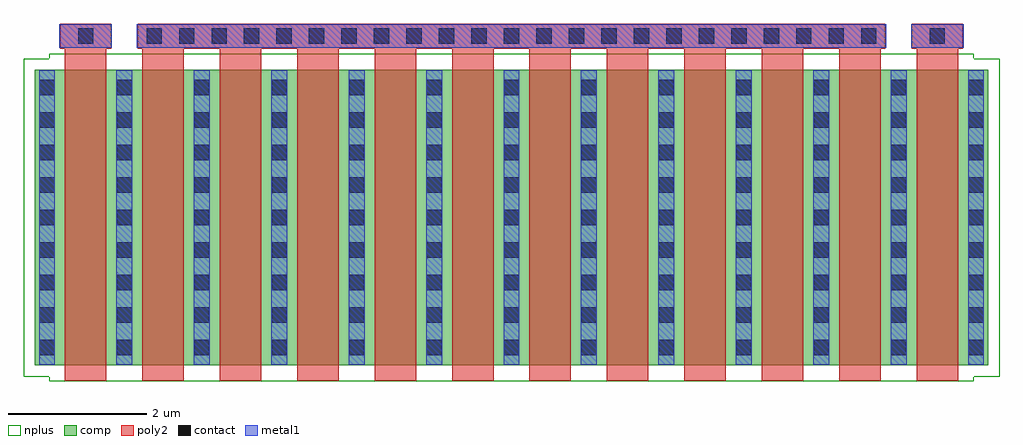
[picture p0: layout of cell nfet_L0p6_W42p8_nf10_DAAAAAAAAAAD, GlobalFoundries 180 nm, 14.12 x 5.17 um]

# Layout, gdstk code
import gdstk
lib = gdstk.Library(unit=1e-6, precision=1e-09)
def R(c, l, rs):  # rectangles x0, y0, x1, y1
    for r in rs: c.add(gdstk.rectangle(r[:2], r[2:], *l))
def A(c, l, x, y, w, h, nx, ny, dx, dy):  # array of equal rectangles
    R(c, l, [(x+i*dx, y+j*dy, x+i*dx+w, y+j*dy+h) for i in range(nx) for j in range(ny)])
def P(c, l, *ps):  # polygons
    for p in ps: c.add(gdstk.Polygon(p, *l))
comp = (22, 0)
poly2 = (30, 0)
nplus = (32, 0)
contact = (33, 0)
metal1 = (34, 0)

nfet_l0p6_w42p8_nf10_daa = lib.new_cell('nfet_L0p6_W42p8_nf10_DAAAAAAAAAAD')
A(nfet_l0p6_w42p8_nf10_daa, comp, -6.835, -2.14, 1.35, 4.28, 12, 1, 1.12, 0)
R(nfet_l0p6_w42p8_nf10_daa, comp, [(-6.9,-2.14,-6.54,2.14), (-5.78,-2.14,-5.42,2.14), (-5.78,-2.14,-5.42,2.14), (-4.66,-2.14,-4.3,2.14), (-4.66,-2.14,-4.3,2.14), (-3.54,-2.14,-3.18,2.14), (-3.54,-2.14,-3.18,2.14), (-2.42,-2.14,-2.06,2.14), (-2.42,-2.14,-2.06,2.14), (-1.3,-2.14,-0.94,2.14), (-1.3,-2.14,-0.94,2.14), (-0.18,-2.14,0.18,2.14), (-0.18,-2.14,0.18,2.14), (0.94,-2.14,1.3,2.14), (0.94,-2.14,1.3,2.14), (2.06,-2.14,2.42,2.14), (2.06,-2.14,2.42,2.14), (3.18,-2.14,3.54,2.14), (3.18,-2.14,3.54,2.14), (4.3,-2.14,4.66,2.14), (4.3,-2.14,4.66,2.14), (5.42,-2.14,5.78,2.14), (5.42,-2.14,5.78,2.14), (6.54,-2.14,6.9,2.14)])
A(nfet_l0p6_w42p8_nf10_daa, poly2, -6.46, -2.36, 0.6, 4.72, 12, 1, 1.12, 0)
A(nfet_l0p6_w42p8_nf10_daa, poly2, -6.46, 2.205, 0.6, 0.29, 12, 1, 1.12, 0)
R(nfet_l0p6_w42p8_nf10_daa, poly2, [(-6.53,2.445,-5.79,2.805), (-5.41,2.445,5.41,2.805), (5.79,2.445,6.53,2.805)])
P(nfet_l0p6_w42p8_nf10_daa, nplus, [(-6.69,-2.37),(-6.69,-2.3),(-7.06,-2.3),(-7.06,2.3),(-6.69,2.3),(-6.69,2.37),(6.69,2.37),(6.69,2.3),(7.06,2.3),(7.06,-2.3),(6.69,-2.3),(6.69,-2.37)])
A(nfet_l0p6_w42p8_nf10_daa, contact, -6.83, -1.99, 0.22, 0.22, 1, 9, 0, 0.47)
A(nfet_l0p6_w42p8_nf10_daa, contact, 6.61, -1.99, 0.22, 0.22, 1, 9, 0, 0.47)
A(nfet_l0p6_w42p8_nf10_daa, contact, -5.28, 2.515, 0.22, 0.22, 23, 1, 0.47, 0)
R(nfet_l0p6_w42p8_nf10_daa, contact, [(-5.71,-1.99,-5.49,-1.77), (-5.71,-1.99,-5.49,-1.77), (-4.59,-1.99,-4.37,-1.77), (-4.59,-1.99,-4.37,-1.77), (-3.47,-1.99,-3.25,-1.77), (-3.47,-1.99,-3.25,-1.77), (-2.35,-1.99,-2.13,-1.77), (-2.35,-1.99,-2.13,-1.77), (-1.23,-1.99,-1.01,-1.77), (-1.23,-1.99,-1.01,-1.77), (-0.11,-1.99,0.11,-1.77), (-0.11,-1.99,0.11,-1.77), (1.01,-1.99,1.23,-1.77), (1.01,-1.99,1.23,-1.77), (2.13,-1.99,2.35,-1.77), (2.13,-1.99,2.35,-1.77), (3.25,-1.99,3.47,-1.77), (3.25,-1.99,3.47,-1.77), (4.37,-1.99,4.59,-1.77), (4.37,-1.99,4.59,-1.77), (5.49,-1.99,5.71,-1.77), (5.49,-1.99,5.71,-1.77), (-5.71,-1.52,-5.49,-1.3), (-5.71,-1.52,-5.49,-1.3), (-4.59,-1.52,-4.37,-1.3), (-4.59,-1.52,-4.37,-1.3), (-3.47,-1.52,-3.25,-1.3), (-3.47,-1.52,-3.25,-1.3), (-2.35,-1.52,-2.13,-1.3), (-2.35,-1.52,-2.13,-1.3), (-1.23,-1.52,-1.01,-1.3), (-1.23,-1.52,-1.01,-1.3), (-0.11,-1.52,0.11,-1.3), (-0.11,-1.52,0.11,-1.3), (1.01,-1.52,1.23,-1.3), (1.01,-1.52,1.23,-1.3), (2.13,-1.52,2.35,-1.3), (2.13,-1.52,2.35,-1.3), (3.25,-1.52,3.47,-1.3), (3.25,-1.52,3.47,-1.3), (4.37,-1.52,4.59,-1.3), (4.37,-1.52,4.59,-1.3), (5.49,-1.52,5.71,-1.3), (5.49,-1.52,5.71,-1.3), (-5.71,-1.05,-5.49,-0.83), (-5.71,-1.05,-5.49,-0.83), (-4.59,-1.05,-4.37,-0.83), (-4.59,-1.05,-4.37,-0.83), (-3.47,-1.05,-3.25,-0.83), (-3.47,-1.05,-3.25,-0.83), (-2.35,-1.05,-2.13,-0.83), (-2.35,-1.05,-2.13,-0.83), (-1.23,-1.05,-1.01,-0.83), (-1.23,-1.05,-1.01,-0.83), (-0.11,-1.05,0.11,-0.83), (-0.11,-1.05,0.11,-0.83), (1.01,-1.05,1.23,-0.83), (1.01,-1.05,1.23,-0.83), (2.13,-1.05,2.35,-0.83), (2.13,-1.05,2.35,-0.83), (3.25,-1.05,3.47,-0.83), (3.25,-1.05,3.47,-0.83), (4.37,-1.05,4.59,-0.83), (4.37,-1.05,4.59,-0.83), (5.49,-1.05,5.71,-0.83), (5.49,-1.05,5.71,-0.83), (-5.71,-0.58,-5.49,-0.36), (-5.71,-0.58,-5.49,-0.36), (-4.59,-0.58,-4.37,-0.36), (-4.59,-0.58,-4.37,-0.36), (-3.47,-0.58,-3.25,-0.36), (-3.47,-0.58,-3.25,-0.36), (-2.35,-0.58,-2.13,-0.36), (-2.35,-0.58,-2.13,-0.36), (-1.23,-0.58,-1.01,-0.36), (-1.23,-0.58,-1.01,-0.36), (-0.11,-0.58,0.11,-0.36), (-0.11,-0.58,0.11,-0.36), (1.01,-0.58,1.23,-0.36), (1.01,-0.58,1.23,-0.36), (2.13,-0.58,2.35,-0.36), (2.13,-0.58,2.35,-0.36), (3.25,-0.58,3.47,-0.36), (3.25,-0.58,3.47,-0.36), (4.37,-0.58,4.59,-0.36), (4.37,-0.58,4.59,-0.36), (5.49,-0.58,5.71,-0.36), (5.49,-0.58,5.71,-0.36), (-5.71,-0.11,-5.49,0.11), (-5.71,-0.11,-5.49,0.11), (-4.59,-0.11,-4.37,0.11), (-4.59,-0.11,-4.37,0.11), (-3.47,-0.11,-3.25,0.11), (-3.47,-0.11,-3.25,0.11), (-2.35,-0.11,-2.13,0.11), (-2.35,-0.11,-2.13,0.11), (-1.23,-0.11,-1.01,0.11), (-1.23,-0.11,-1.01,0.11), (-0.11,-0.11,0.11,0.11), (-0.11,-0.11,0.11,0.11), (1.01,-0.11,1.23,0.11), (1.01,-0.11,1.23,0.11), (2.13,-0.11,2.35,0.11), (2.13,-0.11,2.35,0.11), (3.25,-0.11,3.47,0.11), (3.25,-0.11,3.47,0.11), (4.37,-0.11,4.59,0.11), (4.37,-0.11,4.59,0.11), (5.49,-0.11,5.71,0.11), (5.49,-0.11,5.71,0.11), (-5.71,0.36,-5.49,0.58), (-5.71,0.36,-5.49,0.58), (-4.59,0.36,-4.37,0.58), (-4.59,0.36,-4.37,0.58), (-3.47,0.36,-3.25,0.58), (-3.47,0.36,-3.25,0.58), (-2.35,0.36,-2.13,0.58), (-2.35,0.36,-2.13,0.58), (-1.23,0.36,-1.01,0.58), (-1.23,0.36,-1.01,0.58), (-0.11,0.36,0.11,0.58), (-0.11,0.36,0.11,0.58), (1.01,0.36,1.23,0.58), (1.01,0.36,1.23,0.58), (2.13,0.36,2.35,0.58), (2.13,0.36,2.35,0.58), (3.25,0.36,3.47,0.58), (3.25,0.36,3.47,0.58), (4.37,0.36,4.59,0.58), (4.37,0.36,4.59,0.58), (5.49,0.36,5.71,0.58), (5.49,0.36,5.71,0.58), (-5.71,0.83,-5.49,1.05), (-5.71,0.83,-5.49,1.05), (-4.59,0.83,-4.37,1.05), (-4.59,0.83,-4.37,1.05), (-3.47,0.83,-3.25,1.05), (-3.47,0.83,-3.25,1.05), (-2.35,0.83,-2.13,1.05), (-2.35,0.83,-2.13,1.05), (-1.23,0.83,-1.01,1.05), (-1.23,0.83,-1.01,1.05), (-0.11,0.83,0.11,1.05), (-0.11,0.83,0.11,1.05), (1.01,0.83,1.23,1.05), (1.01,0.83,1.23,1.05), (2.13,0.83,2.35,1.05), (2.13,0.83,2.35,1.05), (3.25,0.83,3.47,1.05), (3.25,0.83,3.47,1.05), (4.37,0.83,4.59,1.05), (4.37,0.83,4.59,1.05), (5.49,0.83,5.71,1.05), (5.49,0.83,5.71,1.05), (-5.71,1.3,-5.49,1.52), (-5.71,1.3,-5.49,1.52), (-4.59,1.3,-4.37,1.52), (-4.59,1.3,-4.37,1.52), (-3.47,1.3,-3.25,1.52), (-3.47,1.3,-3.25,1.52), (-2.35,1.3,-2.13,1.52), (-2.35,1.3,-2.13,1.52), (-1.23,1.3,-1.01,1.52), (-1.23,1.3,-1.01,1.52), (-0.11,1.3,0.11,1.52), (-0.11,1.3,0.11,1.52), (1.01,1.3,1.23,1.52), (1.01,1.3,1.23,1.52), (2.13,1.3,2.35,1.52), (2.13,1.3,2.35,1.52), (3.25,1.3,3.47,1.52), (3.25,1.3,3.47,1.52), (4.37,1.3,4.59,1.52), (4.37,1.3,4.59,1.52), (5.49,1.3,5.71,1.52), (5.49,1.3,5.71,1.52), (-5.71,1.77,-5.49,1.99), (-5.71,1.77,-5.49,1.99), (-4.59,1.77,-4.37,1.99), (-4.59,1.77,-4.37,1.99), (-3.47,1.77,-3.25,1.99), (-3.47,1.77,-3.25,1.99), (-2.35,1.77,-2.13,1.99), (-2.35,1.77,-2.13,1.99), (-1.23,1.77,-1.01,1.99), (-1.23,1.77,-1.01,1.99), (-0.11,1.77,0.11,1.99), (-0.11,1.77,0.11,1.99), (1.01,1.77,1.23,1.99), (1.01,1.77,1.23,1.99), (2.13,1.77,2.35,1.99), (2.13,1.77,2.35,1.99), (3.25,1.77,3.47,1.99), (3.25,1.77,3.47,1.99), (4.37,1.77,4.59,1.99), (4.37,1.77,4.59,1.99), (5.49,1.77,5.71,1.99), (5.49,1.77,5.71,1.99), (-6.27,2.515,-6.05,2.735), (6.05,2.515,6.27,2.735)])
R(nfet_l0p6_w42p8_nf10_daa, metal1, [(-6.835,-2.13,-6.605,2.13), (-5.715,-2.13,-5.485,2.13), (-5.715,-2.13,-5.485,2.13), (-4.595,-2.13,-4.365,2.13), (-4.595,-2.13,-4.365,2.13), (-3.475,-2.13,-3.245,2.13), (-3.475,-2.13,-3.245,2.13), (-2.355,-2.13,-2.125,2.13), (-2.355,-2.13,-2.125,2.13), (-1.235,-2.13,-1.005,2.13), (-1.235,-2.13,-1.005,2.13), (-0.115,-2.13,0.115,2.13), (-0.115,-2.13,0.115,2.13), (1.005,-2.13,1.235,2.13), (1.005,-2.13,1.235,2.13), (2.125,-2.13,2.355,2.13), (2.125,-2.13,2.355,2.13), (3.245,-2.13,3.475,2.13), (3.245,-2.13,3.475,2.13), (4.365,-2.13,4.595,2.13), (4.365,-2.13,4.595,2.13), (5.485,-2.13,5.715,2.13), (5.485,-2.13,5.715,2.13), (6.605,-2.13,6.835,2.13), (-6.54,2.455,-5.78,2.795), (-5.42,2.455,5.42,2.795), (5.78,2.455,6.54,2.795)])

lib.write_gds('nfet_L0p6_W42p8_nf10_DAAAAAAAAAAD.gds')
